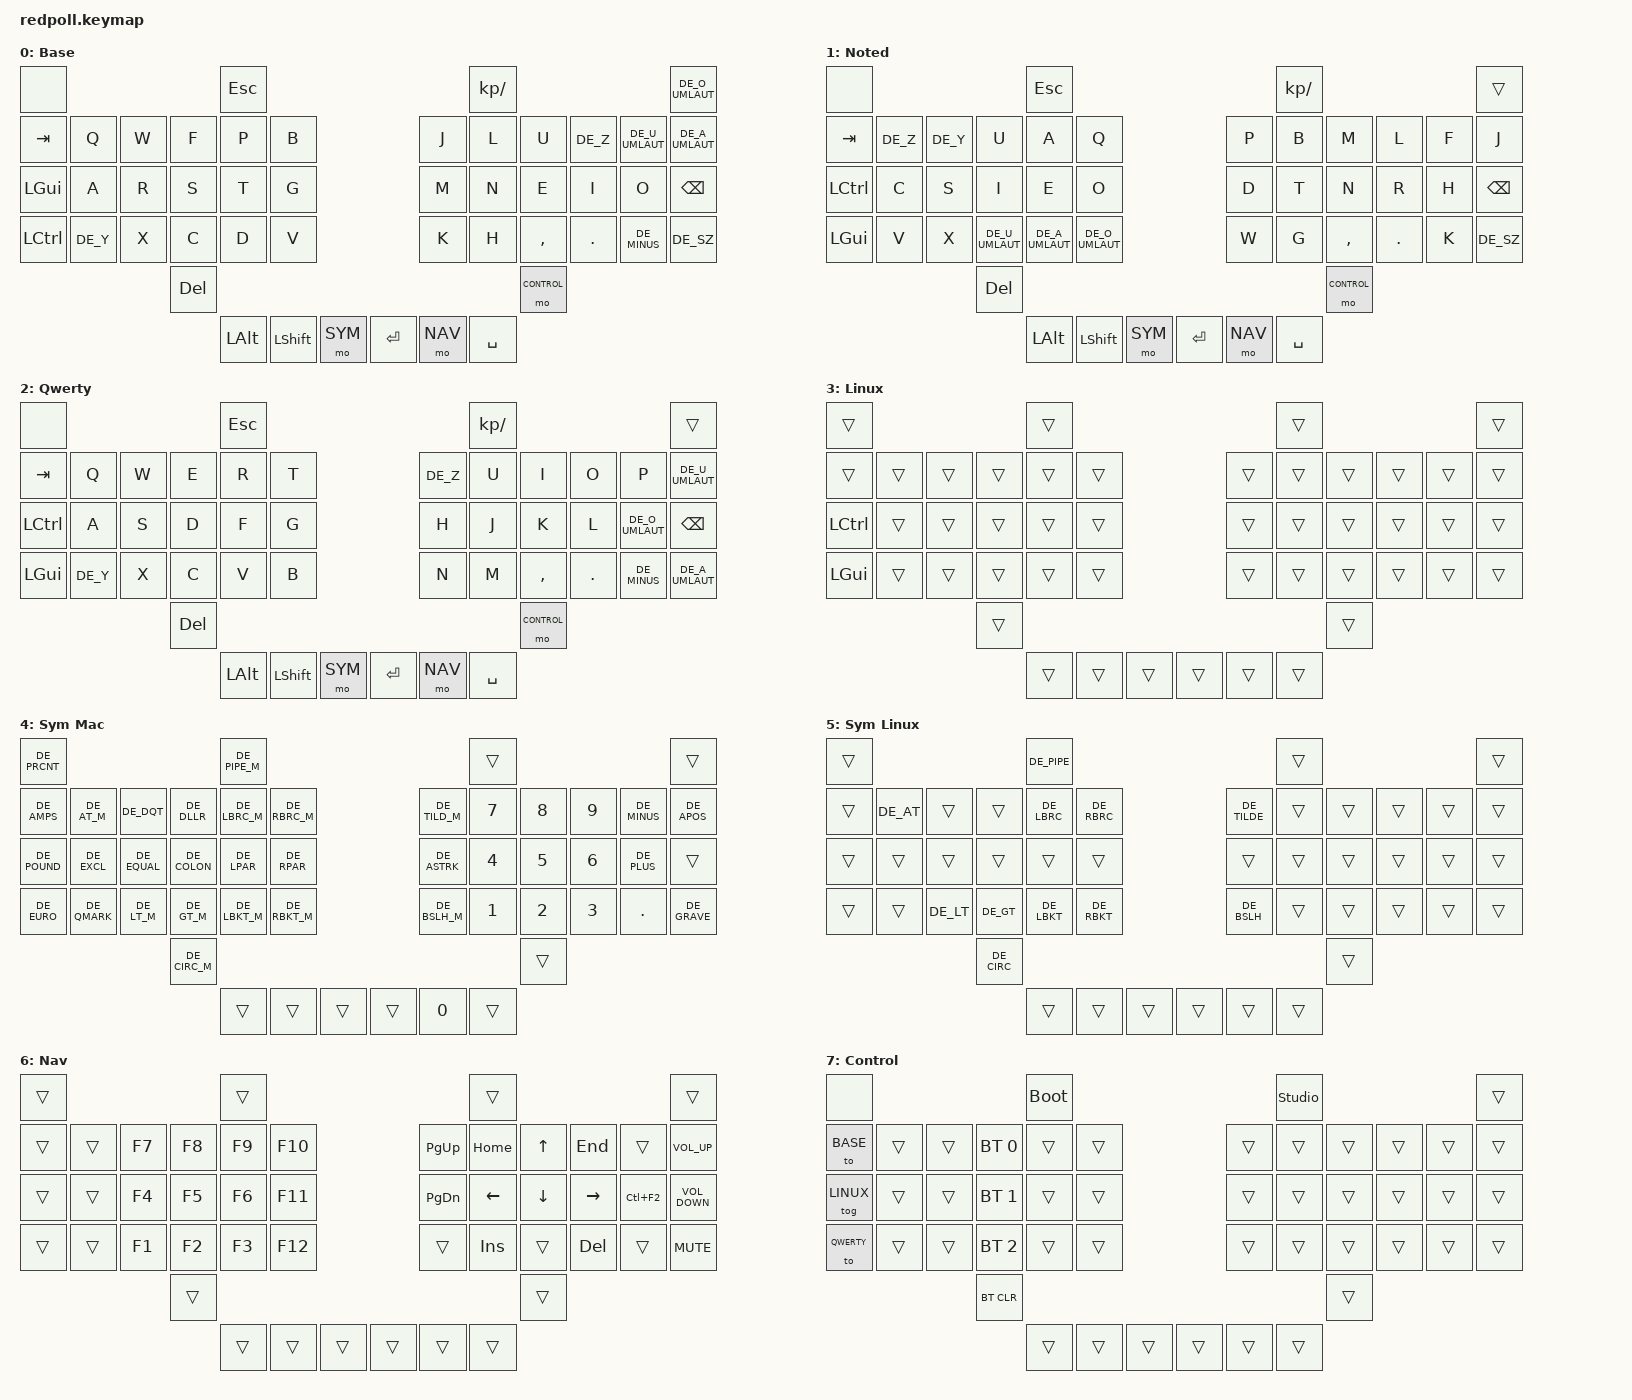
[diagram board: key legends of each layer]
/*
 * build firmware locally:
 *   cd github/zmk/app
 *   west build -p -b nice_nano_v2 -- -DSHIELD=redpoll         (-p "pristine" if zmk uses the wrong keymap file)
 *      ;; reset controller
 *   cp build/zephyr/zmk.uf2 /media/.../NICENANO/
 */

 /*
  * ;; Build for ZMK Studio
  * ;; first activate west venv, where python lib protobuf is installed. Then build.
  *
  *  source /home/.../.local/share/pipx/venvs/west/bin/activate
  *  west build -d build/cl_studio -b nice_nano_v2 -S studio-rpc-usb-uart -- -DSHIELD=redpoll -DCONFIG_ZMK_STUDIO=y
  *  cp build/cl_studio/zephyr/zmk.uf2 /media/.../NICENANO/
  */

#include <behaviors.dtsi>
#include <dt-bindings/zmk/bt.h>
#include <dt-bindings/zmk/keys.h>
#include "keys_de.h"

#define BASE      0  
#define NOTED     1
#define QWERTY    2
#define LINUX     3
#define SYM       4
#define SYM_LINUX 5
#define NAV       6
#define CONTROL   7
#define MISC      8

#define COMBO_TIMEOUT 30  // default=50
/ {



        /* Helper for combos
                0               1                2               3              
                4   5   6   7   8   9       10  11  12  13  14  15
                16  17  18  19  20  21      22  23  24  25  26  27
                28  29  30  31  32  33      34  35  36  37  38  39  
                        40  41  42  43      44  45  46  47

        */

    
    combos {
        compatible = "zmk,combos";

        OE {
            bindings = <&kp DE_O_UMLAUT>;
            key-positions = <25 26>;
            layers = <BASE>;
            timeout-ms = <COMBO_TIMEOUT>; 
        };

        OE_QWERTY {
            bindings = <&kp DE_O_UMLAUT>;
            key-positions = <25 26>;
            layers = <QWERTY>;
            timeout-ms = <COMBO_TIMEOUT>; 
        };

        MINUS_M {
            bindings = <&kp DE_MINUS>;
            key-positions = <25 26>;
            layers = <NOTED>;
            timeout-ms = <COMBO_TIMEOUT>; 
        };

        PROZENT {
            bindings = <&kp DE_PRCNT>;
            key-positions = <6 7>;
            layers = <SYM>;
            timeout-ms = <COMBO_TIMEOUT>;
        };
    };

    conditional_layers {
        compatible = "zmk,conditional-layers";
        tri_layer {
            if-layers = <LINUX SYM>;
            then-layer = <SYM_LINUX>;
        };
    };

    
    keymap {
        compatible = "zmk,keymap";


        base {
            /*  Control = Ctrl
                Option = Alt
                Command = Meta / LGUI
            */
            bindings = <
&none                                                &kp ESCAPE                         &kp KP_SLASH                                       &kp DE_O_UMLAUT
&kp TAB      &kp Q       &kp W         &kp F         &kp P      &kp B          &kp J    &kp L        &kp U      &kp DE_Z   &kp DE_U_UMLAUT &kp DE_A_UMLAUT
&kp LEFT_GUI &kp A       &kp R         &kp S         &kp T      &kp G          &kp M    &kp N        &kp E      &kp I      &kp O           &kp BSPC
&kp LCTRL    &kp DE_Y    &kp X         &kp C         &kp D      &kp V          &kp K    &kp H        &kp COMMA  &kp DOT    &kp DE_MINUS    &kp DE_SZ
                         &kp DEL       &kp LEFT_ALT  &kp LSHFT  &mo SYM        &kp RET  &mo NAV      &kp SPACE  &mo CONTROL   
            >;
            display-name = "Base";
        };

        noted {
            bindings = <                                    
&none                                                      &kp ESCAPE                                       &kp KP_SLASH                              &trans
&kp TAB         &kp DE_Z    &kp DE_Y      &kp U            &kp A            &kp Q                  &kp P    &kp B        &kp M      &kp L      &kp F  &kp J 
&kp LCTRL       &kp C       &kp S         &kp I            &kp E            &kp O                  &kp D    &kp T        &kp N      &kp R      &kp H  &kp BSPC  
&kp LEFT_GUI    &kp V       &kp X         &kp DE_U_UMLAUT  &kp DE_A_UMLAUT  &kp DE_O_UMLAUT        &kp W    &kp G        &kp COMMA  &kp DOT    &kp K  &kp DE_SZ 
                            &kp DEL       &kp LEFT_ALT     &kp LSHFT        &mo SYM                &kp RET  &mo NAV      &kp SPACE  &mo CONTROL    
            >;
            display-name = "Noted";
        };

        qwerty {
            bindings = <                                    
&none                                          &kp ESCAPE                                 &kp KP_SLASH                                        &trans
&kp TAB         &kp Q    &kp W   &kp E         &kp R      &kp T                  &kp DE_Z &kp U        &kp I      &kp O      &kp P            &kp DE_U_UMLAUT 
&kp LCTRL       &kp A    &kp S   &kp D         &kp F      &kp G                  &kp H    &kp J        &kp K      &kp L      &kp DE_O_UMLAUT  &kp BSPC  
&kp LEFT_GUI    &kp DE_Y &kp X   &kp C         &kp V      &kp B                  &kp N    &kp M        &kp COMMA  &kp DOT    &kp DE_MINUS     &kp DE_A_UMLAUT 
                         &kp DEL &kp LEFT_ALT  &kp LSHFT  &mo SYM                &kp RET  &mo NAV      &kp SPACE  &mo CONTROL    
            >;
            display-name = "Qwerty";
        };

        linux {
            bindings = <                                    
 &trans                               &trans                                &trans                          &trans
 &trans       &trans  &trans  &trans  &trans  &trans                &trans  &trans  &trans  &trans  &trans  &trans
 &kp LCTRL    &trans  &trans  &trans  &trans  &trans                &trans  &trans  &trans  &trans  &trans  &trans 
 &kp LEFT_GUI &trans  &trans  &trans  &trans  &trans                &trans  &trans  &trans  &trans  &trans  &trans 
                      &trans  &trans  &trans  &trans                &trans  &trans  &trans  &trans
                                                /*activate SYM_LINUX via conditional_layers */
            >;
            display-name = "Linux";
        };

        sym_mac {
            bindings = <
&kp DE_PRCNT                                           &kp DE_PIPE_M                                     &trans                                &trans
&kp DE_AMPS  &kp DE_AT_M    &kp DE_DQT    &kp DE_DLLR  &kp DE_LBRC_M  &kp DE_RBRC_M        &kp DE_TILD_M &kp N7  &kp N8  &kp N9  &kp DE_MINUS  &kp DE_APOS     
&kp DE_POUND &kp DE_EXCL    &kp DE_EQUAL  &kp DE_COLON &kp DE_LPAR    &kp DE_RPAR          &kp DE_ASTRK  &kp N4  &kp N5  &kp N6  &kp DE_PLUS   &trans     
&kp DE_EURO  &kp DE_QMARK   &kp DE_LT_M   &kp DE_GT_M  &kp DE_LBKT_M  &kp DE_RBKT_M        &kp DE_BSLH_M &kp N1  &kp N2  &kp N3  &kp DOT       &kp DE_GRAVE     
                            &kp DE_CIRC_M &trans       &trans         &trans               &trans        &kp N0  &trans  &trans 
            >;
            display-name = "Sym Mac";
        };

        sym_linux {
            bindings = <
&trans                                       &kp DE_PIPE                                   &trans                           &trans
&trans  &kp DE_AT  &trans        &trans      &kp DE_LBRC   &kp DE_RBRC       &kp DE_TILDE  &trans  &trans  &trans  &trans   &trans     
&trans  &trans     &trans        &trans      &trans        &trans            &trans        &trans  &trans  &trans  &trans   &trans     
&trans  &trans     &kp DE_LT     &kp DE_GT   &kp DE_LBKT   &kp DE_RBKT       &kp DE_BSLH   &trans  &trans  &trans  &trans   &trans
                   &kp DE_CIRC   &trans      &trans        &trans            &trans        &trans  &trans  &trans 
            >;
            display-name = "Sym Linux";
        };


        nav {
            bindings = <
&trans                              &trans                            &trans                                     &trans
&trans  &trans  &kp F7      &kp F8  &kp F9  &kp F10        &kp PG_UP  &kp HOME  &kp UP    &kp END    &trans      &kp C_VOLUME_UP
&trans  &trans  &kp F4      &kp F5  &kp F6  &kp F11        &kp PG_DN  &kp LEFT  &kp DOWN  &kp RIGHT  &kp LC(F2)  &kp C_VOLUME_DOWN
&trans  &trans  &kp F1      &kp F2  &kp F3  &kp F12        &trans     &kp INS   &trans    &kp DEL    &trans      &kp C_MUTE
                &trans      &trans  &trans  &trans         &trans     &trans    &trans    &trans     
            >;

            display-name = "Nav";
        };

        control {
            bindings = <                                    
 &none                                    &bootloader                           &studio_unlock                  &trans
 &to BASE   &trans  &trans  &bt BT_SEL 0  &trans  &trans                &trans  &trans  &trans  &trans  &trans  &trans
 &tog LINUX &trans  &trans  &bt BT_SEL 1  &trans  &trans                &trans  &trans  &trans  &trans  &trans  &trans 
 &to QWERTY &trans  &trans  &bt BT_SEL 2  &trans  &trans                &trans  &trans  &trans  &trans  &trans  &trans 
                    &bt BT_CLR    &trans  &trans  &trans                &trans  &trans  &trans  &trans
            >;
            display-name = "Control";
        };

        misc {
            status = "reserved";
            display-name = "Misc";
        };
    };
};
